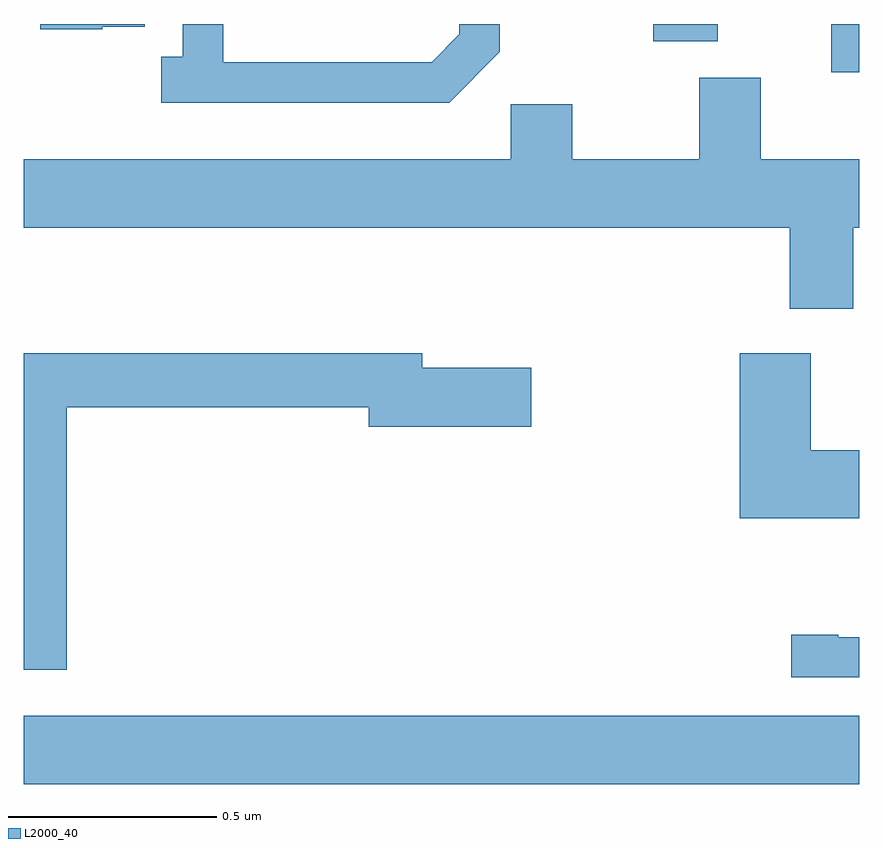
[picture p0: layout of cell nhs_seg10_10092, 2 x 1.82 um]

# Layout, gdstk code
import gdstk
lib = gdstk.Library(unit=1e-6, precision=1e-09)
def R(c, l, rs):  # rectangles x0, y0, x1, y1
    for r in rs: c.add(gdstk.rectangle(r[:2], r[2:], *l))
def P(c, l, *ps):  # polygons
    for p in ps: c.add(gdstk.Polygon(p, *l))
L2000_40 = (2000, 40)

nhs_seg10_10092 = lib.new_cell('nhs_seg10_10092')
R(nhs_seg10_10092, L2000_40, [(238,1269.68,240,1269.844), (239.933,1271.385,240,1271.5), (239.507,1271.459,239.662,1271.5)])
P(nhs_seg10_10092, L2000_40, [(238.187,1271.493),(238.289,1271.493),(238.289,1271.5),(238,1271.5),(238,1271.499),(238.039,1271.499),(238.039,1271.487),(238.187,1271.487)],
  [(239.139,1271.433),(239.139,1271.5),(239.043,1271.5),(239.043,1271.475),(238.977,1271.409),(238.477,1271.409),(238.477,1271.5),(238.38,1271.5),(238.38,1271.422),(238.329,1271.422),(238.329,1271.312),(239.018,1271.312)],
  [(239.986,1271.012),(240,1271.012),(240,1271.176),(239.764,1271.176),(239.764,1271.371),(239.617,1271.371),(239.617,1271.176),(239.313,1271.176),(239.313,1271.308),(239.166,1271.308),(239.166,1271.176),(238,1271.176),(238,1271.012),(239.834,1271.012),(239.834,1270.818),(239.986,1270.818)],
  [(240,1270.479),(239.884,1270.479),(239.884,1270.711),(239.714,1270.711),(239.714,1270.316),(240,1270.316)],
  [(238.103,1270.582),(238.826,1270.582),(238.826,1270.535),(239.215,1270.535),(239.215,1270.677),(238.954,1270.677),(238.954,1270.711),(238,1270.711),(238,1269.954),(238.103,1269.954)],
  [(240,1270.032),(239.95,1270.032),(239.95,1270.037),(239.838,1270.037),(239.838,1269.936),(240,1269.936)])

lib.write_gds('nhs_seg10_10092.gds')
